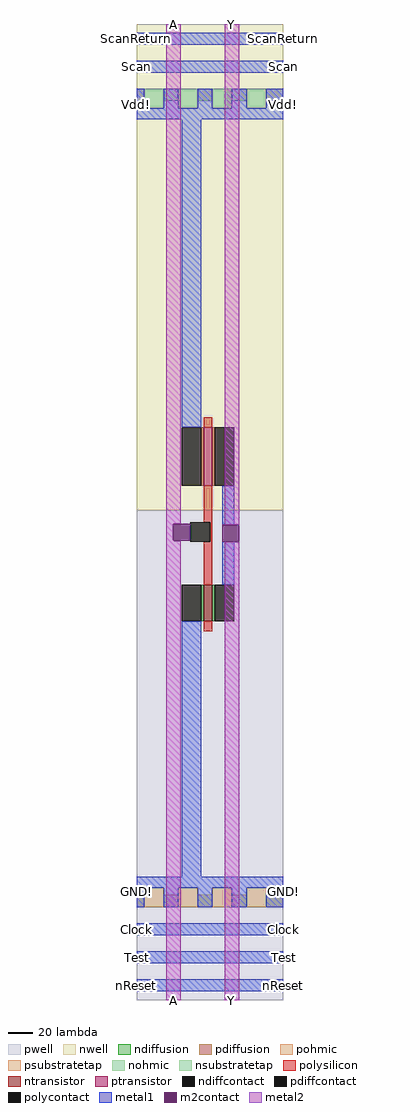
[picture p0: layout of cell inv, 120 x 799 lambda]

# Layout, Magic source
magic
tech c035u
<< nwell >>
rect 0 401 120 799
<< pwell >>
rect 0 0 120 401
<< polysilicon >>
rect 55 469 62 477
rect 55 391 62 421
rect 60 375 62 391
rect 55 340 62 375
rect 55 302 62 310
<< ndiffusion >>
rect 53 310 55 340
rect 62 310 64 340
<< pdiffusion >>
rect 53 421 55 469
rect 62 421 64 469
<< pohmic >>
rect 0 76 6 86
rect 22 76 34 86
rect 50 76 62 86
rect 78 76 90 86
rect 106 76 120 86
<< nohmic >>
rect 0 736 6 746
rect 22 736 34 746
rect 50 736 62 746
rect 78 736 90 746
rect 106 736 120 746
<< ntransistor >>
rect 55 310 62 340
<< ptransistor >>
rect 55 421 62 469
<< polycontact >>
rect 44 375 60 391
<< ndiffcontact >>
rect 37 310 53 340
rect 64 310 80 340
<< pdiffcontact >>
rect 37 421 53 469
rect 64 421 80 469
<< psubstratetap >>
rect 6 76 22 92
rect 34 76 50 92
rect 62 76 78 92
rect 90 76 106 92
<< nsubstratetap >>
rect 6 730 22 746
rect 34 730 50 746
rect 62 730 78 746
rect 90 730 106 746
<< metal1 >>
rect 0 782 120 792
rect 0 759 120 769
rect 0 730 6 746
rect 22 730 34 746
rect 50 730 62 746
rect 78 730 90 746
rect 106 730 120 746
rect 0 721 120 730
rect 37 469 53 721
rect 70 389 80 421
rect 70 340 80 375
rect 37 101 53 310
rect 0 92 120 101
rect 0 76 6 92
rect 22 76 34 92
rect 50 76 62 92
rect 78 76 90 92
rect 106 76 120 92
rect 0 53 120 63
rect 0 30 120 40
rect 0 7 120 17
<< m2contact >>
rect 30 376 44 390
rect 70 375 84 389
<< metal2 >>
rect 24 390 36 799
rect 24 376 30 390
rect 72 389 84 799
rect 24 0 36 376
rect 72 0 84 375
<< labels >>
rlabel metal1 0 721 0 746 7 Vdd!
rlabel metal1 0 759 0 769 7 Scan
rlabel metal1 0 782 0 792 6 ScanReturn
rlabel metal1 120 721 120 746 7 Vdd!
rlabel metal1 120 759 120 769 7 Scan
rlabel metal1 120 782 120 792 6 ScanReturn
rlabel metal2 24 799 36 799 5 A
rlabel metal2 72 799 84 799 5 Y
rlabel metal1 0 76 0 101 7 GND!
rlabel metal1 0 53 0 63 7 Clock
rlabel metal1 0 30 0 40 7 Test
rlabel metal1 0 7 0 17 8 nReset
rlabel metal1 120 7 120 17 8 nReset
rlabel metal1 120 30 120 40 7 Test
rlabel metal1 120 53 120 63 7 Clock
rlabel metal1 120 76 120 101 7 GND!
rlabel metal2 24 0 36 0 1 A
rlabel metal2 72 0 84 0 1 Y
<< end >>
